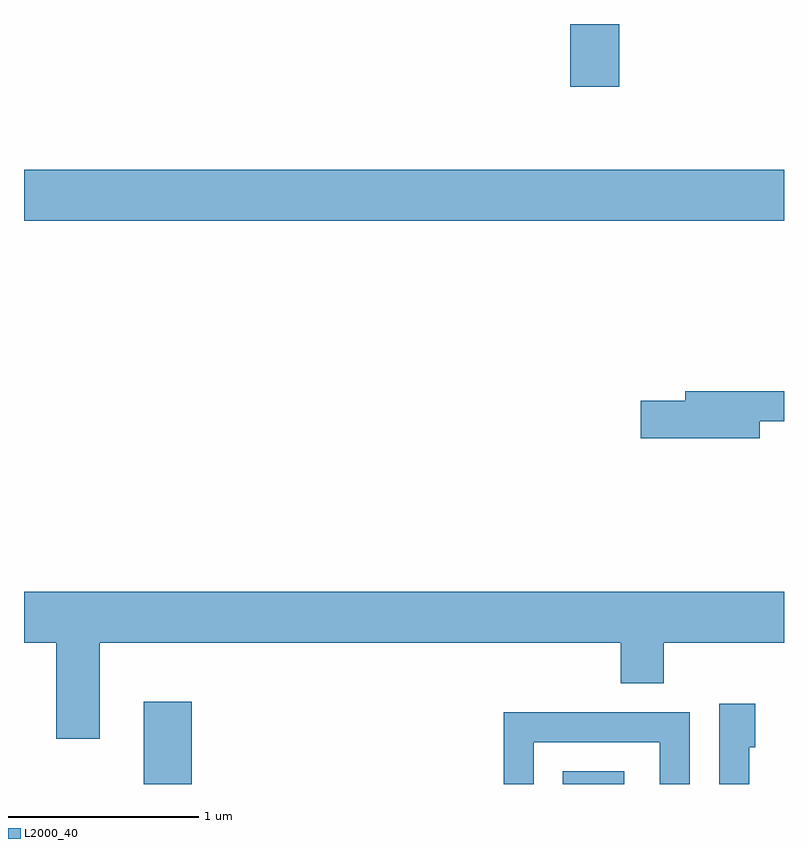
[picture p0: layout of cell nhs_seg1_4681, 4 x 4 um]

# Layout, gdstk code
import gdstk
lib = gdstk.Library(unit=1e-6, precision=1e-09)
def R(c, l, rs):  # rectangles x0, y0, x1, y1
    for r in rs: c.add(gdstk.rectangle(r[:2], r[2:], *l))
def P(c, l, *ps):  # polygons
    for p in ps: c.add(gdstk.Polygon(p, *l))
L2000_40 = (2000, 40)

nhs_seg1_4681 = lib.new_cell('nhs_seg1_4681')
R(nhs_seg1_4681, L2000_40, [(326.241,907.712,326.494,908.144), (328.446,907.712,328.769,907.779), (325.611,910.676,329.611,910.944), (328.486,911.381,328.744,911.712)])
P(nhs_seg1_4681, L2000_40, [(329.484,909.621),(329.611,909.621),(329.611,909.779),(329.091,909.779),(329.091,909.729),(328.856,909.729),(328.856,909.531),(329.484,909.531)],
  [(326.009,908.456),(328.751,908.456),(328.751,908.241),(328.979,908.241),(328.979,908.456),(329.611,908.456),(329.611,908.724),(325.611,908.724),(325.611,908.456),(325.781,908.456),(325.781,907.951),(326.009,907.951)],
  [(329.429,907.906),(329.459,907.906),(329.459,908.134),(329.271,908.134),(329.271,907.712),(329.429,907.712)],
  [(328.294,907.931),(328.956,907.931),(328.956,907.712),(329.114,907.712),(329.114,908.089),(328.136,908.089),(328.136,907.712),(328.294,907.712)])

lib.write_gds('nhs_seg1_4681.gds')
